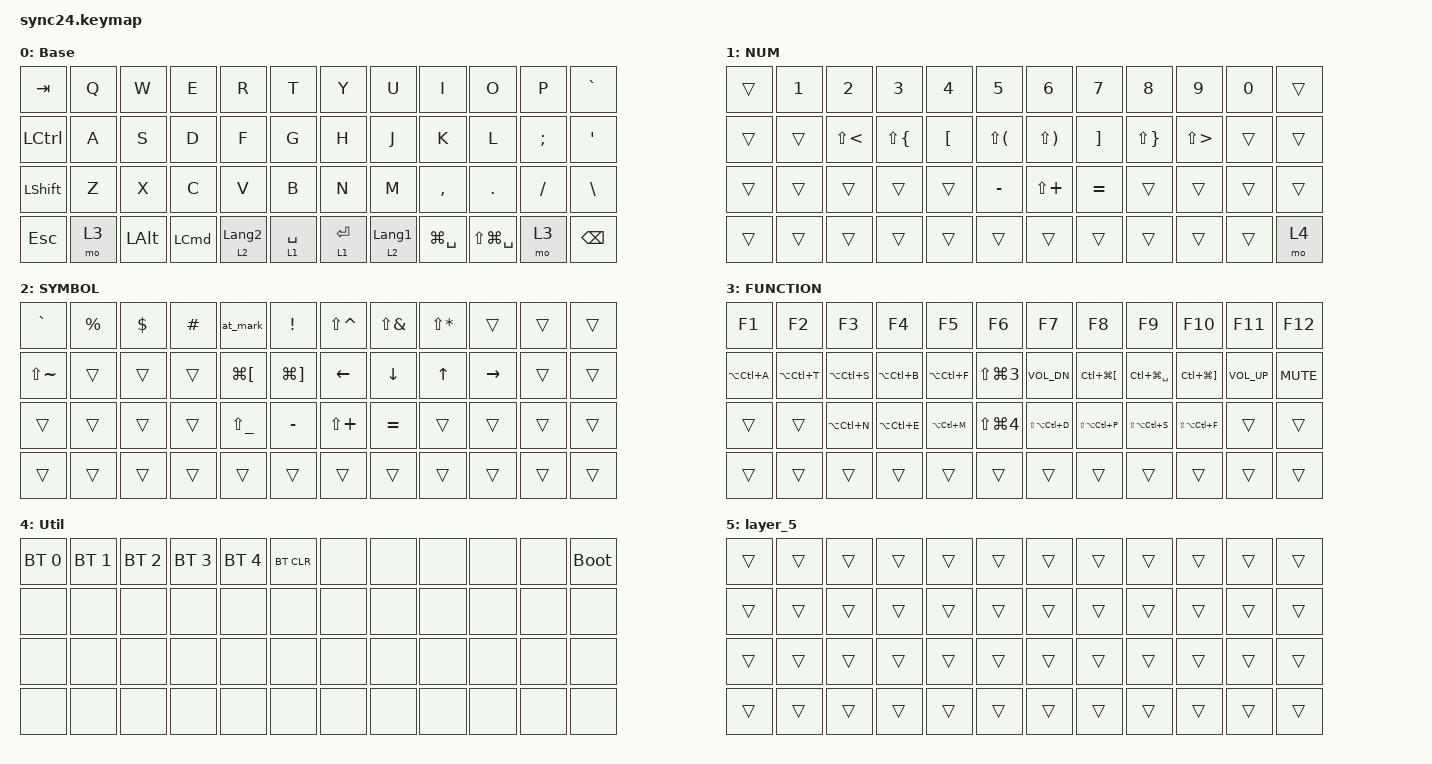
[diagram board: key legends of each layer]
#define ZMK_BEHAVIORS_OMIT_KT

#undef ZMK_BEHAVIORS_KEEP_ALL

#define ZMK_BEHAVIORS_KEEP_SK
#define ZMK_BEHAVIORS_KEEP_MT
#define ZMK_BEHAVIORS_KEEP_KT

#include <behaviors.dtsi>
#include <dt-bindings/zmk/bt.h>
#include <dt-bindings/zmk/keys.h>

/ {
    combos {
        compatible = "zmk,combos";

        combo_us {
            timeout-ms = <50>;
            key-positions = <14 15>;
            bindings = <&kp LANG2>;
        };

        combo_kana {
            timeout-ms = <50>;
            key-positions = <20 21>;
            bindings = <&kp LANG1>;
        };

        combo_util {
            timeout-ms = <50>;
            key-positions = <36 37>;
            bindings = <&mo 4>;
        };
    };

    macros {
        at_mark: at_mark {
            compatible = "zmk,behavior-macro";
            #binding-cells = <0>;
            bindings = <&kp LANGUAGE_2 &kp AT>;
            label = "AT_MARK";
        };
    };

    keymap {
        compatible = "zmk,keymap";

        // ▄▄▄▄▄▄▄▄▄▄▄▄▄▄▄▄▄▄▄▄▄▄▄▄▄▄▄▄▄▄▄▄▄▄▄▄▄▄▄▄▄▄▄▄▄▄▄▄▄▄▄▄▄▄▄▄▄▄▄▄▄▄▄▄▄▄▄▄▄▄▄▄▄▄▄▄▄▄▄▄▄▄▄▄▄▄▄▄▄▄▄▄▄▄▄▄▄▄▄▄▄▄▄▄▄▄▄▄▄▄▄▄▄▄▄▄▄▄▄▄▄▄▄▄▄▄▄▄▄▄▄▄▄▄▄▄▄▄▄▄▄▄▄▄▄▄▄▄▄

        base {
            display-name = "Base";
            bindings = <
&kp TAB     &kp Q  &kp W     &kp E     &kp R             &kp T        &kp Y        &kp U             &kp I          &kp O              &kp P          &kp GRAVE
&kp LCTRL   &kp A  &kp S     &kp D     &kp F             &kp G        &kp H        &kp J             &kp K          &kp L              &kp SEMICOLON  &kp SINGLE_QUOTE
&kp LSHFT   &kp Z  &kp X     &kp C     &kp V             &kp B        &kp N        &kp M             &kp COMMA      &kp DOT            &kp FSLH       &kp BACKSLASH
&kp ESCAPE  &mo 3  &kp LALT  &kp LCMD  &lt 2 LANGUAGE_2  &lt 1 SPACE  &lt 1 ENTER  &lt 2 LANGUAGE_1  &kp LG(SPACE)  &kp LS(LG(SPACE))  &mo 3          &kp BACKSPACE
            >;
        };

        NUM {
            bindings = <
&trans  &kp N1  &kp N2      &kp N3        &kp N4    &kp N5        &kp N6        &kp N7     &kp N8        &kp N9      &kp N0  &trans
&trans  &trans  &kp LS(LT)  &kp LS(LBRC)  &kp LBKT  &kp LS(LPAR)  &kp LS(RPAR)  &kp RBKT   &kp LS(RBRC)  &kp LS(GT)  &trans  &trans
&trans  &trans  &trans      &trans        &trans    &kp MINUS     &kp LS(PLUS)  &kp EQUAL  &trans        &trans      &trans  &trans
&trans  &trans  &trans      &trans        &trans    &trans        &trans        &trans     &trans        &trans      &trans  &mo 4
            >;
        };

        SYMBOL {
            bindings = <
&kp GRAVE      &kp PERCENT  &kp DOLLAR  &kp HASH  &at_mark              &kp EXCLAMATION        &kp LS(CARET)  &kp LS(AMPS)  &kp LS(STAR)  &trans     &trans  &trans
&kp LS(TILDE)  &trans       &trans      &trans    &kp LG(LEFT_BRACKET)  &kp LG(RIGHT_BRACKET)  &kp LEFT       &kp DOWN      &kp UP        &kp RIGHT  &trans  &trans
&trans         &trans       &trans      &trans    &kp LS(UNDER)         &kp MINUS              &kp LS(PLUS)   &kp EQUAL     &trans        &trans     &trans  &trans
&trans         &trans       &trans      &trans    &trans                &trans                 &trans         &trans        &trans        &trans     &trans  &trans
            >;
        };

        FUNCTION {
            bindings = <
&kp F1         &kp F2         &kp F3         &kp F4         &kp F5         &kp F6                &kp F7             &kp F8                    &kp F9             &kp F10                    &kp F11          &kp F12
&kp LA(LC(A))  &kp LA(LC(T))  &kp LA(LC(S))  &kp LA(LC(B))  &kp LA(LC(F))  &kp LS(LG(NUMBER_3))  &kp C_VOL_DN       &kp LC(LG(LEFT_BRACKET))  &kp LC(LG(SPACE))  &kp LC(LG(RIGHT_BRACKET))  &kp C_VOLUME_UP  &kp C_MUTE
&trans         &trans         &kp LA(LC(N))  &kp LA(LC(E))  &kp LA(LC(M))  &kp LS(LG(NUMBER_4))  &kp LS(LA(LC(D)))  &kp LS(LA(LC(P)))         &kp LS(LA(LC(S)))  &kp LS(LA(LC(F)))          &trans           &trans
&trans         &trans         &trans         &trans         &trans         &trans                &trans             &trans                    &trans             &trans                     &trans           &trans
            >;
        };

        util {
            display-name = "Util";
            bindings = <
&bt BT_SEL 0  &bt BT_SEL 1  &bt BT_SEL 2  &bt BT_SEL 3  &bt BT_SEL 4  &bt BT_CLR  &none  &none  &none  &none  &none  &bootloader
&none         &none         &none         &none         &none         &none       &none  &none  &none  &none  &none  &none
&none         &none         &none         &none         &none         &none       &none  &none  &none  &none  &none  &none
&none         &none         &none         &none         &none         &none       &none  &none  &none  &none  &none  &none
            >;
        };

        layer_5 {
            bindings = <
&trans  &trans  &trans  &trans  &trans  &trans  &trans  &trans  &trans  &trans  &trans  &trans
&trans  &trans  &trans  &trans  &trans  &trans  &trans  &trans  &trans  &trans  &trans  &trans
&trans  &trans  &trans  &trans  &trans  &trans  &trans  &trans  &trans  &trans  &trans  &trans
&trans  &trans  &trans  &trans  &trans  &trans  &trans  &trans  &trans  &trans  &trans  &trans
            >;
        };
    };
};
